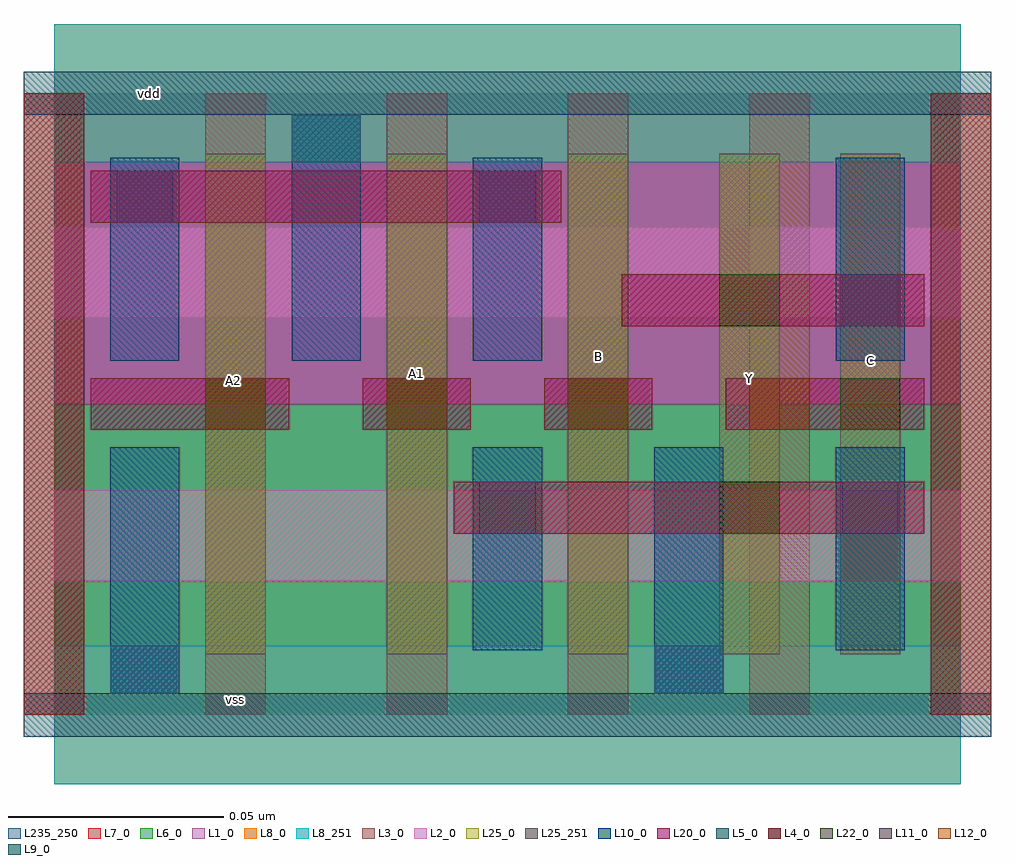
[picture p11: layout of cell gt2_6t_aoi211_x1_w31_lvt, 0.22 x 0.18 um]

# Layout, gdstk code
import gdstk
lib = gdstk.Library(unit=1e-6, precision=5e-10)
def R(c, l, rs):  # rectangles x0, y0, x1, y1
    for r in rs: c.add(gdstk.rectangle(r[:2], r[2:], *l))
def A(c, l, x, y, w, h, nx, ny, dx, dy):  # array of equal rectangles
    R(c, l, [(x+i*dx, y+j*dy, x+i*dx+w, y+j*dy+h) for i in range(nx) for j in range(ny)])
L1_0 = (1, 0)
L2_0 = (2, 0)
L3_0 = (3, 0)
L4_0 = (4, 0)
L5_0 = (5, 0)
L6_0 = (6, 0)
L7_0 = (7, 0)
L8_0 = (8, 0)
L8_251 = (8, 251)
L9_0 = (9, 0)
L10_0 = (10, 0)
L11_0 = (11, 0)
L12_0 = (12, 0)
L20_0 = (20, 0)
L22_0 = (22, 0)
L25_0 = (25, 0)
L25_251 = (25, 251)
L235_250 = (235, 250)

gt2_6t_aoi211_x1_w31_lvt = lib.new_cell('gt2_6t_aoi211_x1_w31_lvt')
R(gt2_6t_aoi211_x1_w31_lvt, L1_0, [(0,0.072,0.21,0.144)])
R(gt2_6t_aoi211_x1_w31_lvt, L2_0, [(0,0.031,0.21,0.052), (0,0.092,0.21,0.113)])
A(gt2_6t_aoi211_x1_w31_lvt, L3_0, -0.007, 0, 0.014, 0.144, 6, 1, 0.042, 0)
R(gt2_6t_aoi211_x1_w31_lvt, L4_0, [(-0.007,0,0.007,0.144), (0.203,0,0.217,0.144)])
R(gt2_6t_aoi211_x1_w31_lvt, L5_0, [(-0.007,-0.005,0.217,0.005), (-0.007,0.139,0.217,0.149)])
R(gt2_6t_aoi211_x1_w31_lvt, L6_0, [(0,0,0.21,0.072)])
R(gt2_6t_aoi211_x1_w31_lvt, L7_0, [(0,0.072,0.21,0.144)])
R(gt2_6t_aoi211_x1_w31_lvt, L8_0, [(0,-0.016,0.21,0.016), (0,0.128,0.21,0.16)])
R(gt2_6t_aoi211_x1_w31_lvt, L8_251, [(0,-0.016,0.21,0.016), (0,0.128,0.21,0.16)])
R(gt2_6t_aoi211_x1_w31_lvt, L9_0, [(0.013,0.005,0.029,0.016), (0.139,0.005,0.155,0.016), (0.055,0.128,0.071,0.139)])
A(gt2_6t_aoi211_x1_w31_lvt, L10_0, 0.013, 0.082, 0.016, 0.047, 3, 1, 0.084, 0)
R(gt2_6t_aoi211_x1_w31_lvt, L10_0, [(0.013,0.005,0.029,0.062), (0.139,0.005,0.155,0.062), (0.097,0.015,0.113,0.062), (0.181,0.015,0.197,0.062), (0.055,0.082,0.071,0.139)])
R(gt2_6t_aoi211_x1_w31_lvt, L11_0, [(0.0985,0.042,0.1115,0.054), (0.1825,0.042,0.1955,0.054), (0.1825,0.09,0.1955,0.102), (0.0145,0.114,0.0275,0.126), (0.0985,0.114,0.1115,0.126)])
A(gt2_6t_aoi211_x1_w31_lvt, L12_0, 0.035, 0.066, 0.014, 0.012, 4, 1, 0.042, 0)
R(gt2_6t_aoi211_x1_w31_lvt, L20_0, [(0.0925,0.042,0.2015,0.054), (0.0085,0.066,0.0545,0.078), (0.0715,0.066,0.0965,0.078), (0.1135,0.066,0.1385,0.078), (0.1555,0.066,0.2015,0.078), (0.1315,0.09,0.2015,0.102), (0.0085,0.114,0.1175,0.126)])
A(gt2_6t_aoi211_x1_w31_lvt, L22_0, 0.035, 0.066, 0.014, 0.012, 3, 1, 0.042, 0)
R(gt2_6t_aoi211_x1_w31_lvt, L22_0, [(0.154,0.042,0.168,0.054), (0.182,0.066,0.196,0.078), (0.154,0.09,0.168,0.102)])
A(gt2_6t_aoi211_x1_w31_lvt, L25_0, 0.035, 0.014, 0.014, 0.116, 3, 1, 0.042, 0)
R(gt2_6t_aoi211_x1_w31_lvt, L25_0, [(0.154,0.014,0.168,0.13), (0.182,0.014,0.196,0.13)])
A(gt2_6t_aoi211_x1_w31_lvt, L25_251, 0.035, 0.014, 0.014, 0.116, 3, 1, 0.042, 0)
R(gt2_6t_aoi211_x1_w31_lvt, L25_251, [(0.154,0.014,0.168,0.13), (0.182,0.014,0.196,0.13)])
R(gt2_6t_aoi211_x1_w31_lvt, L235_250, [(0,0,0.21,0.144)])
gt2_6t_aoi211_x1_w31_lvt.add(gdstk.Label('vss', (0.042,0.0035), layer=8, texttype=251))
gt2_6t_aoi211_x1_w31_lvt.add(gdstk.Label('vdd', (0.022,0.144), layer=8, texttype=251))
gt2_6t_aoi211_x1_w31_lvt.add(gdstk.Label('C', (0.189,0.082), layer=25, texttype=251))
gt2_6t_aoi211_x1_w31_lvt.add(gdstk.Label('A1', (0.084,0.079), layer=25, texttype=251))
gt2_6t_aoi211_x1_w31_lvt.add(gdstk.Label('A2', (0.0415,0.0775), layer=25, texttype=251))
gt2_6t_aoi211_x1_w31_lvt.add(gdstk.Label('B', (0.126,0.083), layer=25, texttype=251))
gt2_6t_aoi211_x1_w31_lvt.add(gdstk.Label('Y', (0.161,0.078), layer=25, texttype=251))

lib.write_gds('gt2_6t_aoi211_x1_w31_lvt.gds')
